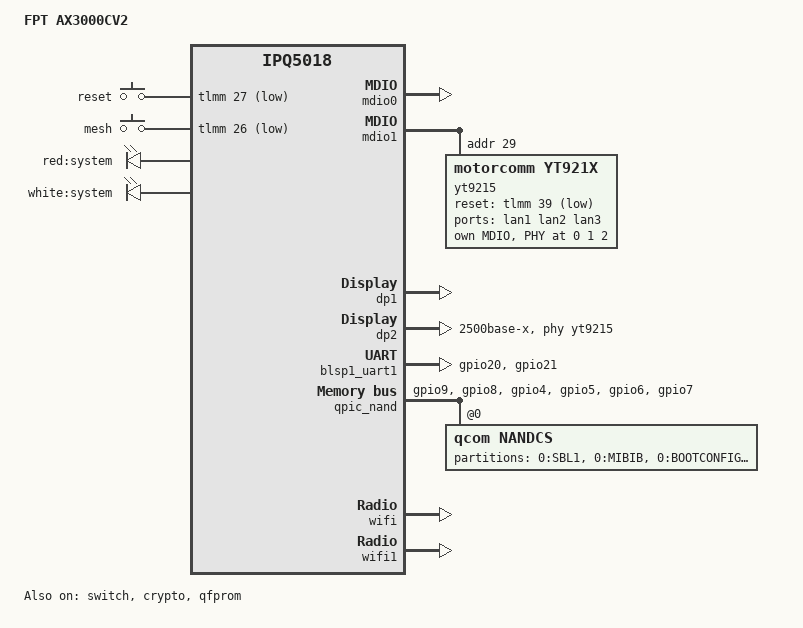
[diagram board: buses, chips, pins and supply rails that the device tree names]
// SPDX-License-Identifier: GPL-2.0-or-later
/**
* (c) 2026 powered by michioxd
*/

/dts-v1/;

#include "ipq5018.dtsi"
#include "ipq5018-ess.dtsi"
#include "ipq5018-qcn6122.dtsi"

#include <dt-bindings/gpio/gpio.h>
#include <dt-bindings/input/input.h>
#include <dt-bindings/leds/common.h>

/ {
	model = "FPT AX3000CV2";
	compatible ="fpt,ax3000cv2", "qcom,ipq5018";
	
	aliases {
		serial0 = &blsp1_uart1;
		
		ethernet0 = &dp1;
		ethernet1 = &dp2;
		
		led-boot = &led_red;
		led-failsafe = &led_red;
		led-running = &led_white;
		led-upgrade = &led_red;
	};
	
	chosen {
		bootargs-append = " swiotlb=1 coherent_pool=2M";
		stdout-path = "serial0:115200n8";
	};
	
	keys {
		compatible = "gpio-keys";
		pinctrl-0 = <&button_pins>;
		pinctrl-names = "default";
		
		reset {
			label = "reset";
			gpios = <&tlmm 27 GPIO_ACTIVE_LOW>;
			linux,code = <KEY_RESTART>;
			linux,input-type = <0x01>;
			debounce-interval = <0x3c>;
		};
		
		mesh {
			label = "mesh";
			gpios = <&tlmm 26 GPIO_ACTIVE_LOW>;
			linux,code = <KEY_WPS_BUTTON>;
			linux,input-type = <0x01>;
			debounce-interval = <0x3c>;
		};
	};
	
	leds {
		compatible = "gpio-leds";
		pinctrl-0 = <&leds_pins>;
		pinctrl-names = "default";
		
		led_red: led-red {
			label = "red:system";
			gpio = <&tlmm 30 GPIO_ACTIVE_HIGH>;
			default-state = "on";
		};
		
		led_white: led-white {
			label = "white:system";
			gpio = <&tlmm 46 GPIO_ACTIVE_HIGH>;
		};
	};
};

&xo_clk {
	clock-frequency = <0x16e3600>;
};

&sleep_clk {
	clock-frequency = <0x7d00>;
};

&tsens {
	nvmem-cells = <0x53>;
	nvmem-cell-names = "calib";
};

&mdio0 {
	status = "okay";
};

&mdio1 {
	status = "okay";
	
	yt9215: switch@1d {
		compatible = "motorcomm,yt921x";
		reg = <29>;
		switchid = <0>;
		
		reset-gpios = <&tlmm 39 GPIO_ACTIVE_LOW>;
		reset-assert-us = <10000>; /* 10ms */
		reset-deassert-us = <50000>; /* 50ms */
		
		mdio {
			#address-cells = <1>;
			#size-cells = <0>;
			
			sw_phy0: phy@0 {
				reg = <0x0>;
			};
			
			sw_phy1: phy@1 {
				reg = <0x1>;
			};
			
			sw_phy2: phy@2 {
				reg = <0x2>;
			};
		};
		
		ports {
			// MAC0 -> Phy0 -> LAN1
			port@0 {
				reg = <0>;
				label = "lan1";
				phy-handle = <&sw_phy0>;
			};
			
			// MAC1 -> Phy1 -> LAN2
			port@1 {
				reg = <1>;
				label = "lan2";
				phy-handle = <&sw_phy1>;
			};
			
			// MAC2 -> Phy2 -> LAN3
			port@2 {
				reg = <2>;
				label = "lan3";
				phy-handle = <&sw_phy2>;
			};
			
			port@8 {
				reg = <8>;
				phy-mode = "2500base-x";
				
				fixed-link {
					speed = <2500>;
					full-duplex;
				};
			};
		};
	};
};

&switch {
	status = "okay";
	switch_mac_mode = <MAC_MODE_SGMII_CHANNEL0>;
	
	qcom,port_phyinfo {
		port@0 {
			port_id = <0x01>;
			mdiobus = <&mdio0>;
			phy_address = <0x07>;
		};
		
		port@1 {
			port_id = <0x02>;
			forced-speed = <0x9c4>;
			forced-duplex = <0x01>;
			mdiobus = <&mdio1>;
		};
	};
};

// MAC0 --- GE Phy (internal)
&dp1 {
	status = "okay";
	
	label = "wan";
	nvmem-cells = <&macaddr_appsblenv_ethaddr 0>;
	nvmem-cell-names = "mac-address";
};

// MAC1 ---SGMII---> YT9215 Phy
&dp2 {
	status = "okay";
	label = "lan";
	phy-mode = "2500base-x";
	phy-handle = <&yt9215>;
	nvmem-cells = <&macaddr_appsblenv_ethaddr 1>;
	nvmem-cell-names = "mac-address";
};

&blsp1_uart1 {
	status = "okay";
	pinctrl-0 = <&uart_pins>;
	pinctrl-names = "default";
};

&crypto {
	status = "okay";
};

&qfprom {
	status = "okay";
};

&qpic_nand {
	status = "okay";
	pinctrl-0 = <&qpic_pins>;
	pinctrl-names = "default";
	
	nandcs@0 {
		compatible = "qcom,nandcs";
		reg = <0>;
		
		nand-ecc-strength = <4>;
		nand-ecc-step-size = <512>;
		nand-bus-width = <8>;
		
		partitions {
			compatible = "fixed-partitions";
			#address-cells = <1>;
			#size-cells = <1>;
			
			partition@0 {
				label = "0:SBL1";
				reg = <0x0 0x80000>;
				read-only;
			};
			
			partition@80000 {
				label = "0:MIBIB";
				reg = <0x80000 0x80000>;
				read-only;
			};
			
			partition@100000 {
				label = "0:BOOTCONFIG";
				reg = <0x100000 0x40000>;
				read-only;
			};
			
			partition@140000 {
				label = "0:BOOTCONFIG1";
				reg = <0x140000 0x40000>;
				read-only;
			};
			
			partition@180000 {
				label = "0:QSEE";
				reg = <0x180000 0x100000>;
				read-only;
			};
			
			partition@280000 {
				label = "0:QSEE_1";
				reg = <0x280000 0x100000>;
				read-only;
			};
			
			partition@380000 {
				label = "0:DEVCFG";
				reg = <0x380000 0x40000>;
				read-only;
			};
			
			partition@3c0000 {
				label = "0:DEVCFG_1";
				reg = <0x3c0000 0x40000>;
				read-only;
			};
			
			partition@400000 {
				label = "0:CDT";
				reg = <0x400000 0x40000>;
				read-only;
			};
			
			partition@440000 {
				label = "0:CDT_1";
				reg = <0x440000 0x40000>;
				read-only;
			};
			
			partition@480000 {
				label = "0:APPSBLENV";
				reg = <0x480000 0x80000>;
				
				nvmem-layout {
					compatible = "u-boot,env";
					
					macaddr_appsblenv_ethaddr: ethaddr {
						#nvmem-cell-cells = <1>;
					};
					
					serial_number: AeiBoardSerialNumber {
						#nvmem-cell-cells = <1>;
					};
					
					model_name: modelname {
						#nvmem-cell-cells = <1>;
					};
				};
			};
			
			partition@500000 {
				label = "0:APPSBL";
				reg = <0x500000 0x140000>;
				read-only;
			};
			
			partition@640000 {
				label = "0:APPSBL_1";
				reg = <0x640000 0x140000>;
				read-only;
			};
			
			art: partition@780000 {
				label = "0:ART";
				reg = <0x780000 0x100000>;
				read-only;
			};
			
			partition@880000 {
				label = "0:TRAINING";
				reg = <0x880000 0x80000>;
				read-only;
			};
			
			partition@900000 {
				label = "APPSBLENV_1";
				reg = <0x900000 0x80000>;
				read-only;
			};
			
			partition@980000 {
				label = "ART_1";
				reg = <0x980000 0x100000>;
				read-only;
			};
			
			partition@a80000 {
				label = "TRAINING_1";
				reg = <0xa80000 0x80000>;
				read-only;
			};
			
			partition@b00000 {
				label = "cert";
				reg = <0xb00000 0x100000>;
				read-only;
			};
			
			partition@c00000 {
				label = "cert_1";
				reg = <0xc00000 0x100000>;
				read-only;
			};
			
			partition@d00000 {
				label = "rootfs";
				reg = <0xd00000 0xf300000>;
			};
		};
	};
};

&tlmm {
	mdio1_pins: mdio_state {
		phandle = <0x0c>;
		
		mdc {
			pins = "gpio36";
			function = "mdc";
			drive-strength = <8>;
			bias-pull-up;
		};
		
		mdio {
			pins = "gpio37";
			function = "mdio";
			drive-strength = <8>;
			bias-pull-up;
		};
	};
	
	leds_pins: leds_pins {
		led_white {
			pins = "gpio46";
			function = "gpio";
			drive-strength = <8>;
			bias-pull-down;
		};
		
		led_red {
			pins = "gpio30";
			function = "gpio";
			drive-strength = <8>;
			bias-pull-down;
		};
	};
	
	button_pins: button_pins {
		pins = "gpio27", "gpio26";
		function = "gpio";
		drive-strength = <8>;
		bias-pull-up;
	};
	
	qpic_pins: qpic_state {
		clock {
			pins = "gpio9";
			function = "qspi_clk";
			drive-strength = <8>;
			bias-disable;
		};
		
		cs {
			pins = "gpio8";
			function = "qspi_cs";
			drive-strength = <8>;
			bias-disable;
		};
		
		data {
			pins = "gpio4", "gpio5", "gpio6", "gpio7";
			function = "qspi_data";
			drive-strength = <8>;
			bias-disable;
		};
	};
	
	i2c_pins: i2c_pins {
		i2c_scl {
			pins = "gpio25";
			function = "blsp2_i2c1";
			drive-strength = <0x08>;
			bias-disable;
		};
		
		i2c_sda {
			pins = "gpio26";
			function = "blsp2_i2c1";
			drive-strength = <0x08>;
			bias-disable;
		};
	};
	
	uart_pins: uart0_state {
		pins = "gpio20","gpio21";
		function = "blsp0_uart0";
		bias-disable;
	};
	
	blsp0_spi_pins {
		pins = "gpio10", "gpio11", "gpio12", "gpio13";
		function = "blsp0_spi1";
		drive-strength = <0x02>;
		bias-disable;
	};
	
	qspi_nand_pins {
		phandle = <0x19>;
		
		qspi_clock {
			pins = "gpio9";
			function = "qspi_clk";
			drive-strength = <0x08>;
			bias-disable;
		};
		
		qspi_cs {
			pins = "gpio8";
			function = "qspi_cs";
			drive-strength = <0x08>;
			bias-disable;
		};
		
		qspi_data {
			pins = "gpio4\0gpio5\0gpio6\0gpio7";
			function = "qspi_data";
			drive-strength = <0x08>;
			bias-disable;
		};
	};
	
	pwm_pinmux {
		mux_1 {
			pins = "gpio0";
			function = "pwm10";
			drive-strength = <0x08>;
		};
		
		mux_2 {
			pins = "gpio1";
			function = "pwm20";
			drive-strength = <0x08>;
		};
		
		mux_3 {
			pins = "gpio45";
			function = "pwm3";
			drive-strength = <0x08>;
		};
	};
};

&q6v5_wcss {
	boot-args = <0x01 0x04 0x03 0x0f 0x00 0x00 0x02 0x04 0x02 0x12 0x00 0x00>;
};

&wifi {
	status = "okay";
	
	qcom,rproc = <&q6_wcss_pd1>;
	qcom,userpd-subsys-name = "q6v5_wcss_userpd1";
	qcom,ath11k-calibration-variant = "FPT-AX3000CV2";
	qcom,ath11k-fw-memory-mode = <1>;
	qcom,bdf-addr = <0x4c400000>;
};

&wifi1 {
	status = "okay";
	
	qcom,rproc = <&q6_wcss_pd2>;
	qcom,ath11k-fw-memory-mode = <1>;
	qcom,ath11k-calibration-variant = "FPT-AX3000CV2";
	qcom,userpd-subsys-name = "q6v5_wcss_userpd2";
	qcom,bdf-addr = <0x4d100000>;
	qcom,m3-dump-addr = <0x4df00000>;
};
